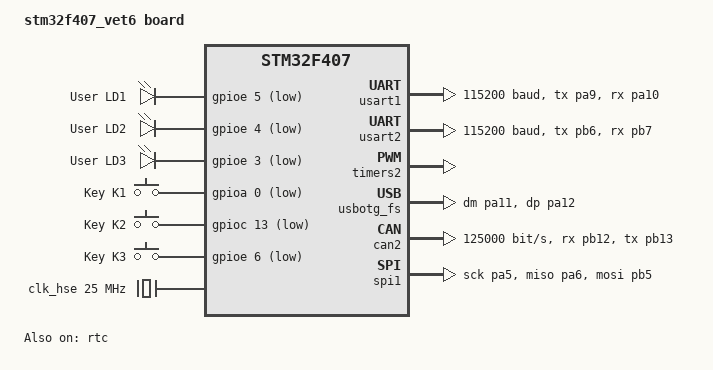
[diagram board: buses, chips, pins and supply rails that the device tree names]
/*
 * Copyright (c) 2020 Intel Corporation
 *
 * SPDX-License-Identifier: Apache-2.0
 */

/dts-v1/;
#include <st/f4/stm32f407Xe.dtsi>
#include <st/f4/stm32f407v(e-g)tx-pinctrl.dtsi>

/ {
	model = "stm32f407_vet6 board";
	compatible = "st,stm32f407";

	chosen {
		zephyr,console     = &usart1;
		zephyr,shell-uart  = &usart1;
		zephyr,sram        = &sram0;
		zephyr,flash       = &flash0;
		zephyr,ccm         = &ccm0;
		zephyr,can-primary = &can2;
	};

	leds {
		compatible = "gpio-leds";
		red_led_1: led_1 {
			gpios = <&gpioe 5 GPIO_ACTIVE_LOW>;
			label = "User LD1";
		};
		red_led_2: led_2 {
			gpios = <&gpioe 4 GPIO_ACTIVE_LOW>;
			label = "User LD2";
		};
		red_led_3: led_3 {
			gpios = <&gpioe 3 GPIO_ACTIVE_LOW>;
			label = "User LD3";
		};
	};

	gpio_keys {
		compatible = "gpio-keys";
		user_button_1: K1 {
			label = "Key K1";
			gpios = <&gpioa 0 GPIO_ACTIVE_LOW>;
		};
		user_button_2: K2 {
			label = "Key K2";
			gpios = <&gpioc 13 GPIO_ACTIVE_LOW>;
		};
		user_button_3: K3 {
			label = "Key K3";
			gpios = <&gpioe 6 GPIO_ACTIVE_LOW>;
		};
	};

	aliases {
		led1 = &red_led_1;
		led2 = &red_led_2;
		led3 = &red_led_3;
		sw0  = &user_button_1;
	};
};

&clk_hse {
	clock-frequency = <DT_FREQ_M(25)>;
	status          = "okay";
};

&pll {
	div-m  = <25>;
	mul-n  = <336>;
	div-p  = <2>;
	div-q  = <7>;
	clocks = <&clk_hse>;
	status = "okay";
};

&rcc {
	clocks          = <&pll>;
	clock-frequency = <DT_FREQ_M(168)>;
	ahb-prescaler   = <1>;
	apb1-prescaler  = <4>;
	apb2-prescaler  = <2>;
};

&usart1 {
	pinctrl-0     = <&usart1_tx_pa9 &usart1_rx_pa10>;
	current-speed = <115200>;
	status        = "okay";
};

&usart2 {
	pinctrl-0     = <&usart1_tx_pb6 &usart1_rx_pb7>;
	current-speed = <115200>;
	status        = "okay";
};

&timers2 {
	status = "okay";

	pwm2: pwm {
		status    = "okay";
		pinctrl-0 = <&tim2_ch1_pa0>;
	};
};

&rtc {
	status = "okay";
};

zephyr_udc0: &usbotg_fs {
	pinctrl-0 = <&usb_otg_fs_dm_pa11 &usb_otg_fs_dp_pa12>;
	status    = "okay";
};

&can1 {
	pinctrl-0 = <&can1_rx_pd0 &can1_tx_pd1>;
	bus-speed = <125000>;
	status = "disabled";
};

&can2 {
	pinctrl-0 = <&can2_rx_pb12 &can2_tx_pb13>;
	bus-speed = <125000>;
	status = "okay";
};

&spi1 {
	pinctrl-0 = <&spi1_sck_pa5 &spi1_miso_pa6 &spi1_mosi_pb5>;
	status = "okay";
};

